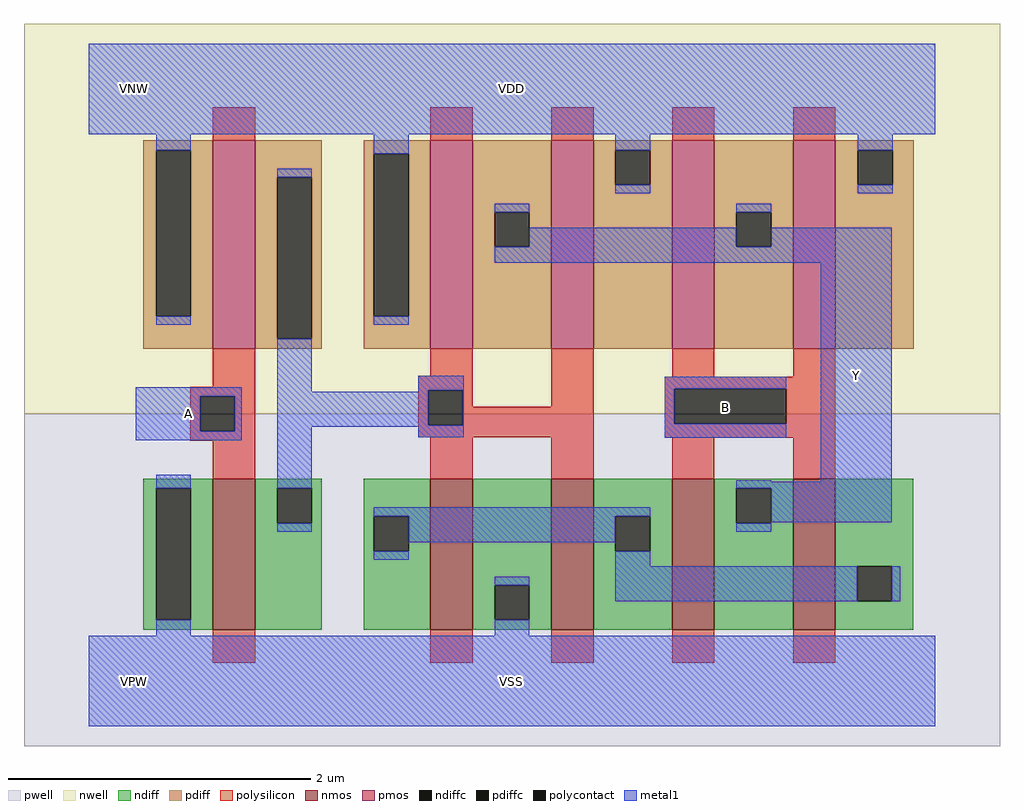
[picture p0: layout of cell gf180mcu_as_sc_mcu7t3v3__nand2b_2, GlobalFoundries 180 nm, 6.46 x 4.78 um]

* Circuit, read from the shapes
.subckt gf180mcu_as_sc_mcu7t3v3__nand2b_2 VDD VNW VPW VSS Y B A
XM1 n1 A VSS VPW nfet_03v3 w=1u l=0.28u
XM2 VSS n1 n2 VPW nfet_03v3 w=1u l=0.28u m=2
XM3 Y B n2 VPW nfet_03v3 w=1u l=0.28u m=2
XM4 n1 A VDD VNW pfet_03v3 w=1.38u l=0.28u
XM5 Y n1 VDD VNW pfet_03v3 w=1.38u l=0.28u m=2
XM6 Y B VDD VNW pfet_03v3 w=1.38u l=0.28u m=2
.ends

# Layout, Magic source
magic
tech gf180mcuD
magscale 1 10
<< nwell >>
rect -86 354 1206 870
<< pwell >>
rect -86 -86 1206 354
<< nmos >>
rect 164 68 220 268
rect 452 68 508 268
rect 612 68 668 268
rect 772 68 828 268
rect 932 68 988 268
<< pmos >>
rect 164 440 220 716
rect 452 440 508 716
rect 612 440 668 716
rect 772 440 828 716
rect 932 440 988 716
<< ndiff >>
rect 72 255 164 268
rect 72 81 89 255
rect 135 81 164 255
rect 72 68 164 81
rect 220 255 308 268
rect 220 209 249 255
rect 295 209 308 255
rect 220 68 308 209
rect 364 218 452 268
rect 364 172 377 218
rect 423 172 452 218
rect 364 68 452 172
rect 508 127 612 268
rect 508 81 537 127
rect 583 81 612 127
rect 508 68 612 81
rect 668 218 772 268
rect 668 172 697 218
rect 743 172 772 218
rect 668 68 772 172
rect 828 255 932 268
rect 828 209 857 255
rect 903 209 932 255
rect 828 68 932 209
rect 988 152 1091 268
rect 988 106 1017 152
rect 1063 106 1091 152
rect 988 68 1091 106
<< pdiff >>
rect 72 703 164 716
rect 72 483 89 703
rect 135 483 164 703
rect 72 440 164 483
rect 220 667 308 716
rect 220 453 249 667
rect 295 453 308 667
rect 220 440 308 453
rect 364 698 452 716
rect 364 483 377 698
rect 423 483 452 698
rect 364 440 452 483
rect 508 621 612 716
rect 508 575 537 621
rect 583 575 612 621
rect 508 440 612 575
rect 668 703 772 716
rect 668 657 697 703
rect 743 657 772 703
rect 668 440 772 657
rect 828 621 932 716
rect 828 575 857 621
rect 903 575 932 621
rect 828 440 932 575
rect 988 703 1092 716
rect 988 657 1018 703
rect 1064 657 1092 703
rect 988 440 1092 657
<< ndiffc >>
rect 89 81 135 255
rect 249 209 295 255
rect 377 172 423 218
rect 537 81 583 127
rect 697 172 743 218
rect 857 209 903 255
rect 1017 106 1063 152
<< pdiffc >>
rect 89 483 135 703
rect 249 453 295 667
rect 377 483 423 698
rect 537 575 583 621
rect 697 657 743 703
rect 857 575 903 621
rect 1018 657 1064 703
<< polysilicon >>
rect 164 716 220 760
rect 452 716 508 760
rect 612 716 668 760
rect 772 716 828 760
rect 932 716 988 760
rect 164 390 220 440
rect 452 404 508 440
rect 134 377 220 390
rect 134 331 147 377
rect 193 331 220 377
rect 134 318 220 331
rect 436 385 508 404
rect 436 339 449 385
rect 495 363 508 385
rect 612 363 668 440
rect 772 403 828 440
rect 932 403 988 440
rect 495 339 668 363
rect 436 323 668 339
rect 164 268 220 318
rect 452 268 508 323
rect 612 268 668 323
rect 762 387 988 403
rect 762 341 775 387
rect 923 341 988 387
rect 762 322 988 341
rect 772 268 828 322
rect 932 268 988 322
rect 164 24 220 68
rect 452 24 508 68
rect 612 24 668 68
rect 772 24 828 68
rect 932 24 988 68
<< polycontact >>
rect 147 331 193 377
rect 449 339 495 385
rect 775 341 923 387
<< metal1 >>
rect 0 724 1120 844
rect 89 703 135 724
rect 377 698 423 724
rect 89 472 135 483
rect 249 667 295 678
rect 697 703 743 724
rect 697 646 743 657
rect 1018 703 1064 724
rect 1018 646 1064 657
rect 537 621 583 632
rect 857 621 903 632
rect 583 575 857 600
rect 903 575 1063 600
rect 537 554 1063 575
rect 377 472 423 483
rect 62 377 202 389
rect 62 331 147 377
rect 193 331 202 377
rect 62 319 202 331
rect 249 383 295 453
rect 436 385 496 404
rect 436 383 449 385
rect 249 339 449 383
rect 495 339 496 385
rect 249 337 496 339
rect 89 255 135 273
rect 249 255 295 337
rect 436 323 496 337
rect 762 387 923 403
rect 762 341 775 387
rect 762 322 923 341
rect 857 264 903 266
rect 969 264 1063 554
rect 857 255 1063 264
rect 249 198 295 209
rect 377 218 743 230
rect 423 184 697 218
rect 377 161 423 172
rect 903 210 1063 255
rect 857 198 903 209
rect 697 152 743 172
rect 89 60 135 81
rect 537 127 583 138
rect 697 106 1017 152
rect 1063 106 1074 152
rect 537 60 583 81
rect 0 -60 1120 60
<< labels >>
flabel metal1 s 0 724 1120 844 0 FreeSans 400 0 0 0 VDD
port 1 nsew power bidirectional abutment
flabel metal1 s 0 -60 1120 60 0 FreeSans 400 0 0 0 VSS
port 4 nsew ground bidirectional abutment
flabel nwell s 10 734 110 834 0 FreeSans 400 0 0 0 VNW
port 2 nsew power bidirectional
flabel pwell s 10 -50 110 50 0 FreeSans 400 0 0 0 VPW
port 3 nsew ground bidirectional
flabel metal1 969 210 1063 600 0 FreeSans 200 0 0 0 Y
port 5 nsew signal output
flabel metal1 762 322 923 403 0 FreeSans 200 0 0 0 B
port 6 nsew signal input
flabel metal1 62 319 202 389 0 FreeSans 200 0 0 0 A
port 7 nsew signal input
<< properties >>
string FIXED_BBOX 0 0 1120 784
string LEFclass CORE
string LEFsite unithd
string LEFsymmetry X Y
string MASKHINTS_NPLUS -16 -46 1136 354
string MASKHINTS_PPLUS -16 354 1136 830
<< end >>
